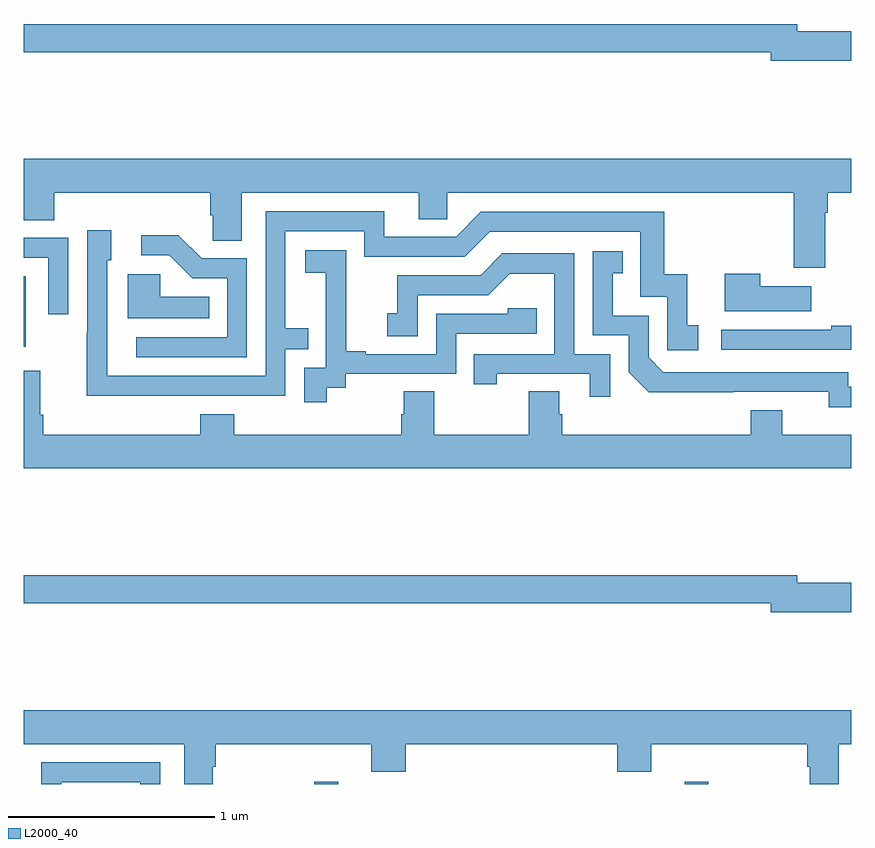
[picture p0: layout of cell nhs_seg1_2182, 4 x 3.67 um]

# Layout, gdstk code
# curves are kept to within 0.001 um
import gdstk
lib = gdstk.Library(unit=1e-6, precision=1e-09)
def R(c, l, rs):  # rectangles x0, y0, x1, y1
    for r in rs: c.add(gdstk.rectangle(r[:2], r[2:], *l))
def P(c, l, *ps):  # polygons
    for p in ps: c.add(gdstk.Polygon(p, *l))
L2000_40 = (2000, 40)

nhs_seg1_2182 = lib.new_cell('nhs_seg1_2182')
R(nhs_seg1_2182, L2000_40, [(230.405,558.199,230.52,558.211), (232.194,558.199,232.309,558.211), (229,560.313,229.009,560.653)])
P(nhs_seg1_2182, L2000_40, [(232.999,561.836),(232.738,561.836),(232.738,561.872),(229,561.872),(229,561.736),(232.61,561.736),(232.61,561.694),(232.999,561.694)],
  [(232.873,560.96),(232.886,560.96),(232.886,561.056),(233,561.056),(233,561.22),(229,561.22),(229,560.923),(229.148,560.923),(229.148,561.056),(229.901,561.056),(229.901,560.947),(229.914,560.947),(229.914,560.824),(230.053,560.824),(230.053,561.056),(230.909,561.056),(230.909,560.929),(231.048,560.929),(231.048,561.056),(232.721,561.056),(232.721,560.694),(232.873,560.694)],
  [(229.769,560.076),(230.265,560.076),(230.265,560.301),(230.375,560.301),(230.375,560.402),(230.265,560.402),(230.265,560.871),(230.646,560.871),(230.646,560.748),(231.132,560.748),(231.252,560.868),(231.981,560.868),(231.981,560.553),(232.11,560.553),(232.11,560.295),(232.261,560.295),(232.261,560.415),(232.208,560.415),(232.208,560.662),(232.097,560.662),(232.097,560.964),(231.21,560.964),(231.09,560.844),(230.743,560.844),(230.743,560.967),(230.169,560.967),(230.169,560.172),(229.405,560.172),(229.404,560.73),(229.423,560.73),(229.423,560.875),(229.308,560.875),(229.308,560.381),(229.306,560.381),(229.306,560.075)],
  [(230.079,560.739),(229.86,560.739),(229.747,560.852),(229.569,560.852),(229.569,560.754),(229.703,560.754),(229.814,560.643),(229.983,560.643),(229.983,560.358),(229.545,560.358),(229.545,560.262),(230.079,560.262)],
  [(229.215,560.838),(229,560.838),(229,560.742),(229.119,560.742),(229.119,560.469),(229.215,560.469)],
  [(230.464,560.113),(230.556,560.113),(230.556,560.181),(231.09,560.181),(231.09,560.376),(231.479,560.376),(231.479,560.499),(231.339,560.499),(231.339,560.472),(230.994,560.472),(230.994,560.277),(230.653,560.277),(230.653,560.29),(230.558,560.29),(230.558,560.573),(230.559,560.573),(230.559,560.779),(230.361,560.779),(230.361,560.669),(230.459,560.669),(230.459,560.441),(230.46,560.441),(230.46,560.211),(230.355,560.211),(230.355,560.043),(230.464,560.043)],
  [(233,560.118),(232.986,560.118),(232.986,560.19),(232.092,560.19),(232.02,560.262),(232.02,560.463),(231.847,560.463),(231.847,560.667),(231.896,560.667),(231.896,560.773),(231.75,560.773),(231.75,560.367),(231.924,560.367),(231.924,560.19),(232.022,560.093),(232.89,560.094),(232.89,560.021),(233,560.021)],
  [(231.834,560.277),(231.66,560.277),(231.66,560.763),(231.314,560.763),(231.209,560.658),(230.806,560.658),(230.806,560.473),(230.757,560.473),(230.757,560.364),(230.904,560.364),(230.904,560.562),(231.246,560.562),(231.35,560.666),(231.564,560.666),(231.564,560.277),(231.175,560.277),(231.175,560.13),(231.286,560.13),(231.286,560.181),(231.737,560.181),(231.737,560.07),(231.834,560.07)],
  [(232.807,560.605),(232.559,560.605),(232.559,560.665),(232.388,560.665),(232.388,560.483),(232.807,560.483)],
  [(229.898,560.554),(229.659,560.554),(229.659,560.662),(229.502,560.662),(229.502,560.45),(229.898,560.45)],
  [(233,560.414),(232.903,560.414),(232.903,560.394),(232.371,560.394),(232.371,560.298),(233,560.298)],
  [(233,559.888),(232.666,559.888),(232.666,560.005),(232.514,560.005),(232.514,559.888),(231.602,559.888),(231.602,559.986),(231.589,559.986),(231.589,560.096),(231.442,560.096),(231.442,559.888),(230.985,559.888),(230.985,560.096),(230.837,560.096),(230.837,559.986),(230.825,559.986),(230.825,559.888),(230.018,559.888),(230.018,559.987),(229.853,559.987),(229.853,559.888),(229.094,559.888),(229.094,559.984),(229.081,559.984),(229.081,560.197),(229,560.197),(229,559.724),(233,559.724)],
  [(232.999,559.172),(232.738,559.172),(232.738,559.208),(229,559.208),(229,559.072),(232.61,559.072),(232.61,559.03),(232.999,559.03)],
  [(229.914,558.283),(229.928,558.283),(229.928,558.392),(230.681,558.392),(230.681,558.259),(230.846,558.259),(230.846,558.392),(231.869,558.392),(231.869,558.259),(232.034,558.259),(232.034,558.392),(232.787,558.392),(232.787,558.283),(232.8,558.283),(232.8,558.199),(232.939,558.199),(232.939,558.392),(233,558.392),(233,558.556),(229,558.556),(229,558.392),(229.775,558.392),(229.775,558.199),(229.914,558.199)],
  [(229.182,558.207),(229.563,558.207),(229.563,558.199),(229.659,558.199),(229.659,558.303),(229.085,558.303),(229.085,558.199),(229.182,558.199)])

lib.write_gds('nhs_seg1_2182.gds')
